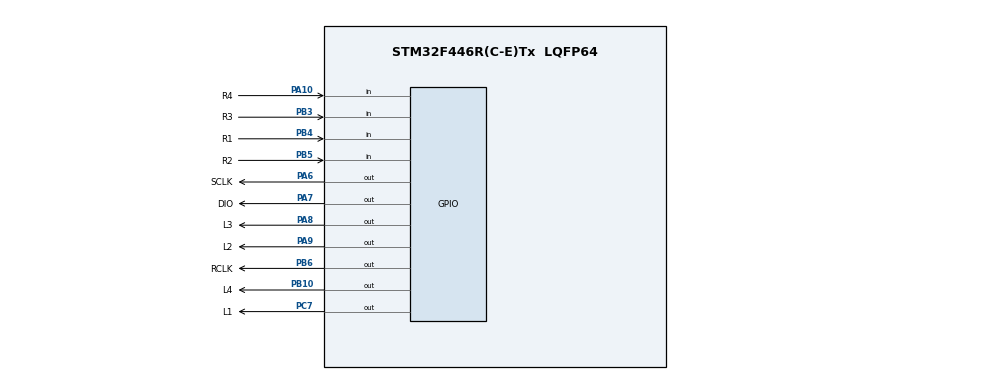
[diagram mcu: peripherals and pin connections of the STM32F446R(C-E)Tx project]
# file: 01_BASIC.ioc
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Mcu.Family=STM32F4
Mcu.Name=STM32F446R(C-E)Tx
Mcu.Package=LQFP64
NVIC.PriorityGroup=NVIC_PRIORITYGROUP_4
NVIC.TIM7_IRQn=true\:0\:0\:false\:false\:true\:true\:true\:true
PA10.GPIO_Label=R4
PA10.GPIO_PuPd=GPIO_PULLUP
PA10.Signal=GPIO_Input
PA6.GPIO_Label=SCLK
PA6.Signal=GPIO_Output
PA7.GPIO_Label=DIO
PA7.Signal=GPIO_Output
PA8.GPIO_Label=L3
PA8.Signal=GPIO_Output
PA9.GPIO_Label=L2
PA9.Signal=GPIO_Output
PB10.GPIO_Label=L4
PB10.Signal=GPIO_Output
PB3.GPIO_Label=R3
PB3.GPIO_PuPd=GPIO_PULLUP
PB3.Signal=GPIO_Input
PB4.GPIO_Label=R1
PB4.GPIO_PuPd=GPIO_PULLUP
PB4.Signal=GPIO_Input
PB5.GPIO_Label=R2
PB5.GPIO_PuPd=GPIO_PULLUP
PB5.Signal=GPIO_Input
PB6.GPIO_Label=RCLK
PB6.Signal=GPIO_Output
PC7.GPIO_Label=L1
PC7.Signal=GPIO_Output
ProjectManager.HeapSize=0x200
ProjectManager.StackSize=0x400
ProjectManager.TargetToolchain=STM32CubeIDE
RCC.CortexFreq_Value=16000000
RCC.USBFreq_Value=96000000
RCC.VCOOutputFreq_Value=192000000
TIM7.Period=9
TIM7.Prescaler=1599
VP_TIM7_VS_ClockSourceINT.Mode=Enable_Timer
board=custom

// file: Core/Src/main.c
/* USER CODE BEGIN Header */
/**
  ******************************************************************************
  * @file           : main.c
  * @brief          : Main program body
  ******************************************************************************
  * @attention
  *
  * Copyright (c) 2025 STMicroelectronics.
  * All rights reserved.
  *
  * This software is licensed under terms that can be found in the LICENSE file
  * in the root directory of this software component.
  * If no LICENSE file comes with this software, it is provided AS-IS.
  *
  ******************************************************************************
  */
/* USER CODE END Header */
#include "main.h"

 TIM_HandleTypeDef htim7;

/* USER CODE BEGIN PV */
GPIO_TypeDef* row_port[4] = {L1_GPIO_Port, L2_GPIO_Port, L3_GPIO_Port, L4_GPIO_Port};
uint16_t     row_pin [4] = {L1_Pin,      L2_Pin,      L3_Pin,      L4_Pin     };

GPIO_TypeDef* col_port[4] = {R1_GPIO_Port, R2_GPIO_Port, R3_GPIO_Port, R4_GPIO_Port};
uint16_t     col_pin [4] = {R1_Pin,      R2_Pin,      R3_Pin,      R4_Pin     };

/* 共阳数码管段码：0-F + “-” */
const uint8_t LED_CODE[] = {
  0xC0,0xF9,0xA4,0xB0,0x99,0x92,0x82,0xF8,
  0x80,0x90,0x88,0x83,0xC6,0xA1,0x86,0x8E,
  0xBF
};

/* 8 位数码管当前显示内容（初始化全灭 = 0xFF） */
uint8_t LED_BUF[8] = {0xFF,0xFF,0xFF,0xFF,0xFF,0xFF,0xFF,0xFF};
/* 当前动态扫描的位索引 */
uint8_t disp_ind = 0;

/* 扫描用临时变量 */
uint8_t cur_row = 0, cur_col = 0, key_value = 0;

/* USER CODE END PV */

void SystemClock_Config(void);
static void MX_GPIO_Init(void);
static void MX_TIM7_Init(void);

/* USER CODE BEGIN 0 */
void out_595(uint8_t data)
{
  for (int i = 0; i < 8; i++) {
    HAL_GPIO_WritePin(SCLK_GPIO_Port, SCLK_Pin, GPIO_PIN_RESET);
    if (data & (0x80 >> i))
      HAL_GPIO_WritePin(DIO_GPIO_Port, DIO_Pin, GPIO_PIN_SET);
    else
      HAL_GPIO_WritePin(DIO_GPIO_Port, DIO_Pin, GPIO_PIN_RESET);
    HAL_GPIO_WritePin(SCLK_GPIO_Port, SCLK_Pin, GPIO_PIN_SET);
  }
}
/* USER CODE END 0 */

int main(void)
{

  /* MCU Configuration--------------------------------------------------------*/

  /* Reset of all peripherals, Initializes the Flash interface and the Systick. */
  HAL_Init();

  /* Configure the system clock */
  SystemClock_Config();

  /* Initialize all configured peripherals */
  MX_GPIO_Init();
  MX_TIM7_Init();
  /* USER CODE BEGIN 2 */
  HAL_TIM_Base_Start_IT(&htim7);

  /* USER CODE END 2 */

  /* Infinite loop */
  /* USER CODE BEGIN WHILE */
  while (1)
  {
    for (int i = 0; i < 4; i++)
      HAL_GPIO_WritePin(row_port[i], row_pin[i], GPIO_PIN_SET);
    /* 激活当前行拉低 */
    HAL_GPIO_WritePin(row_port[cur_row], row_pin[cur_row], GPIO_PIN_RESET);

    /* 读当前行的四列 */
    for (cur_col = 0; cur_col < 4; cur_col++) {
      if (HAL_GPIO_ReadPin(col_port[cur_col], col_pin[cur_col]) == GPIO_PIN_RESET) {
        HAL_Delay(20);  // 简易消抖
        if (HAL_GPIO_ReadPin(col_port[cur_col], col_pin[cur_col]) == GPIO_PIN_RESET) {
          /* 计算键值 0~15 */
          key_value = cur_row * 4 + cur_col;
          /* 将新键值移入 LED 缓存，旧值左移 */
          for (int j = 7; j >= 1; j--) {
            LED_BUF[j] = LED_BUF[j - 1];
          }
          LED_BUF[0] = LED_CODE[key_value];
          /* 等按键释放 */
          while (HAL_GPIO_ReadPin(col_port[cur_col], col_pin[cur_col]) == GPIO_PIN_RESET) { }
          HAL_Delay(20);
        }
        break;
      }
    }
    /* 下一行 */
    cur_row = (cur_row + 1) & 0x03;
    /* USER CODE END WHILE */

  }
}

void SystemClock_Config(void)
{
  RCC_OscInitTypeDef RCC_OscInitStruct = {0};
  RCC_ClkInitTypeDef RCC_ClkInitStruct = {0};

  /** Configure the main internal regulator output voltage
  */
  __HAL_RCC_PWR_CLK_ENABLE();
  __HAL_PWR_VOLTAGESCALING_CONFIG(PWR_REGULATOR_VOLTAGE_SCALE3);

  /** Initializes the RCC Oscillators according to the specified parameters
  * in the RCC_OscInitTypeDef structure.
  */
  RCC_OscInitStruct.OscillatorType = RCC_OSCILLATORTYPE_HSI;
  RCC_OscInitStruct.HSIState = RCC_HSI_ON;
  RCC_OscInitStruct.HSICalibrationValue = RCC_HSICALIBRATION_DEFAULT;
  RCC_OscInitStruct.PLL.PLLState = RCC_PLL_NONE;
  if (HAL_RCC_OscConfig(&RCC_OscInitStruct) != HAL_OK)
  {
    Error_Handler();
  }

  /** Initializes the CPU, AHB and APB buses clocks
  */
  RCC_ClkInitStruct.ClockType = RCC_CLOCKTYPE_HCLK|RCC_CLOCKTYPE_SYSCLK
                              |RCC_CLOCKTYPE_PCLK1|RCC_CLOCKTYPE_PCLK2;
  RCC_ClkInitStruct.SYSCLKSource = RCC_SYSCLKSOURCE_HSI;
  RCC_ClkInitStruct.AHBCLKDivider = RCC_SYSCLK_DIV1;
  RCC_ClkInitStruct.APB1CLKDivider = RCC_HCLK_DIV1;
  RCC_ClkInitStruct.APB2CLKDivider = RCC_HCLK_DIV1;

  if (HAL_RCC_ClockConfig(&RCC_ClkInitStruct, FLASH_LATENCY_0) != HAL_OK)
  {
    Error_Handler();
  }
}

static void MX_TIM7_Init(void)
{

  TIM_MasterConfigTypeDef sMasterConfig = {0};

  htim7.Instance = TIM7;
  htim7.Init.Prescaler = 1599;
  htim7.Init.CounterMode = TIM_COUNTERMODE_UP;
  htim7.Init.Period = 9;
  htim7.Init.AutoReloadPreload = TIM_AUTORELOAD_PRELOAD_DISABLE;
  if (HAL_TIM_Base_Init(&htim7) != HAL_OK)
  {
    Error_Handler();
  }
  sMasterConfig.MasterOutputTrigger = TIM_TRGO_RESET;
  sMasterConfig.MasterSlaveMode = TIM_MASTERSLAVEMODE_DISABLE;
  if (HAL_TIMEx_MasterConfigSynchronization(&htim7, &sMasterConfig) != HAL_OK)
  {
    Error_Handler();
  }

}

static void MX_GPIO_Init(void)
{
  GPIO_InitTypeDef GPIO_InitStruct = {0};

  /* GPIO Ports Clock Enable */
  __HAL_RCC_GPIOA_CLK_ENABLE();
  __HAL_RCC_GPIOB_CLK_ENABLE();
  __HAL_RCC_GPIOC_CLK_ENABLE();

  /*Configure GPIO pin Output Level */
  HAL_GPIO_WritePin(GPIOA, GPIO_PIN_6|GPIO_PIN_7|GPIO_PIN_8|GPIO_PIN_9, GPIO_PIN_RESET);

  /*Configure GPIO pin Output Level */
  HAL_GPIO_WritePin(GPIOB, GPIO_PIN_10|GPIO_PIN_6, GPIO_PIN_RESET);

  /*Configure GPIO pin Output Level */
  HAL_GPIO_WritePin(GPIOC, GPIO_PIN_7, GPIO_PIN_RESET);

  /*Configure GPIO pins : PA6 PA7 PA8 PA9 */
  GPIO_InitStruct.Pin = GPIO_PIN_6|GPIO_PIN_7|GPIO_PIN_8|GPIO_PIN_9;
  GPIO_InitStruct.Mode = GPIO_MODE_OUTPUT_PP;
  GPIO_InitStruct.Pull = GPIO_NOPULL;
  GPIO_InitStruct.Speed = GPIO_SPEED_FREQ_LOW;
  HAL_GPIO_Init(GPIOA, &GPIO_InitStruct);

  /*Configure GPIO pins : PB10 PB6 */
  GPIO_InitStruct.Pin = GPIO_PIN_10|GPIO_PIN_6;
  GPIO_InitStruct.Mode = GPIO_MODE_OUTPUT_PP;
  GPIO_InitStruct.Pull = GPIO_NOPULL;
  GPIO_InitStruct.Speed = GPIO_SPEED_FREQ_LOW;
  HAL_GPIO_Init(GPIOB, &GPIO_InitStruct);

  /*Configure GPIO pin : PC7 */
  GPIO_InitStruct.Pin = GPIO_PIN_7;
  GPIO_InitStruct.Mode = GPIO_MODE_OUTPUT_PP;
  GPIO_InitStruct.Pull = GPIO_NOPULL;
  GPIO_InitStruct.Speed = GPIO_SPEED_FREQ_LOW;
  HAL_GPIO_Init(GPIOC, &GPIO_InitStruct);

  /*Configure GPIO pin : PA10 */
  GPIO_InitStruct.Pin = GPIO_PIN_10;
  GPIO_InitStruct.Mode = GPIO_MODE_INPUT;
  GPIO_InitStruct.Pull = GPIO_PULLUP;
  HAL_GPIO_Init(GPIOA, &GPIO_InitStruct);

  /*Configure GPIO pins : PB3 PB4 PB5 */
  GPIO_InitStruct.Pin = GPIO_PIN_3|GPIO_PIN_4|GPIO_PIN_5;
  GPIO_InitStruct.Mode = GPIO_MODE_INPUT;
  GPIO_InitStruct.Pull = GPIO_PULLUP;
  HAL_GPIO_Init(GPIOB, &GPIO_InitStruct);

}

/* USER CODE BEGIN 4 */
void HAL_TIM_PeriodElapsedCallback(TIM_HandleTypeDef *htim)
{
  if (htim->Instance == TIM7) {
    /* 先拉低 RCLK，准备移位 */
    HAL_GPIO_WritePin(RCLK_GPIO_Port, RCLK_Pin, GPIO_PIN_RESET);
    /* 发送段码和位码 */
    out_595(LED_BUF[disp_ind]);
    out_595(1 << disp_ind);
    /* 拉高 RCLK，更新输出 */
    HAL_GPIO_WritePin(RCLK_GPIO_Port, RCLK_Pin, GPIO_PIN_SET);

    /* 切换到下一位 */
    disp_ind = (disp_ind + 1) & 0x07;
  }
}
/* USER CODE END 4 */

void Error_Handler(void)
{
  __disable_irq();
  while (1)
  {
  }
}
